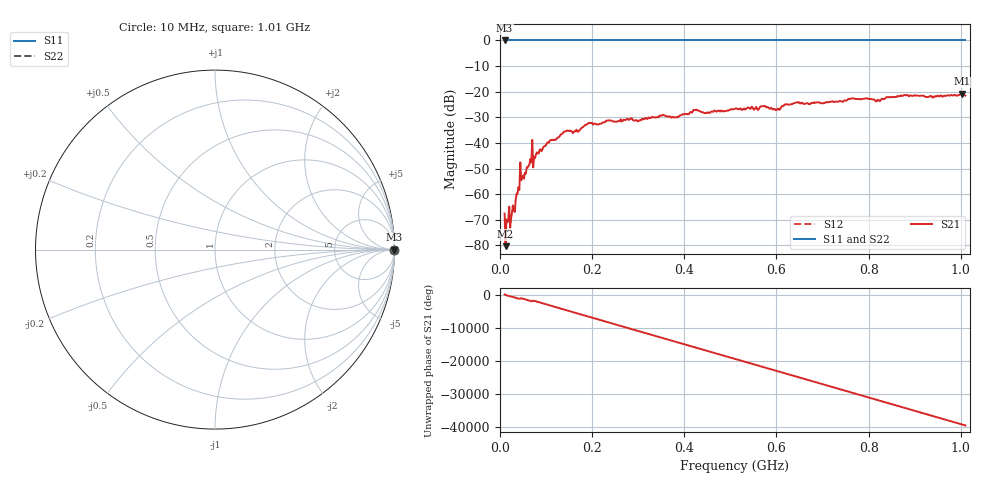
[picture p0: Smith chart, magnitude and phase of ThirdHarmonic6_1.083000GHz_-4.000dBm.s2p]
! 8/16/2025 9:58:07 AM
! C:\ANRITSUVNA\TEMP\TEMP.S2P
! CHANNEL.1
! TR.MEASUREMENT
! RAW.DATA
! RF.CORRECTION.OFF
! AVERAGING.OFF
! IF.BANDWIDTH: 5KHZ
! SWEEPTYPE:  FREQ.SWEEP(Linear)
! Reference Plane Port Info
! PORT:  PORT1  PORT2
! DISTANCE:  0  m  0  m
! TIME:  0  s  0  s
! PHASE.OFFSET:  0  deg.  0  deg.
! LOSS:  0  dB  0  dB
! REF.LOSS:  0  dB  0  dB
! REF.FREQ:  0  Hz  0  Hz
! Power Info
! POWER:  -20  dBm  -20  dBm
! EFF.POWER:  -20  dBm  -20  dBm
! SOURCE.ATTEN:  0  dB  0  dB
! TEST.ATTEN:  0  dB  0  dB
# GHZ S RI R 50.0
! FREQ.GHZ  S11RE  S11IM  S21RE  S21IM  S12RE  S12IM  S22RE  S22IM
!; PortSelection: Port_12
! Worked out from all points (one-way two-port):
!   501 points, 10 MHz to 1.01 GHz, reference 50 ohm
!   highest |S21| = -20.83 dB at 1.002 GHz (marker M1); lowest = -80.3 dB at 12 MHz (marker M2)
!   lowest |S11| = 0.0 dB at 10 MHz (marker M3)
!   |S11| at or under -10 dB: nowhere
!   |S22| runs from 0.0 to 0.0 dB; largest |S21 - S12| = 1.1
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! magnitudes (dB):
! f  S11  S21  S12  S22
! 10 MHz  0.0  -67.6  0.0  0.0
! 12 MHz  0.0  -80.3  0.0  0.0
! 26 MHz  0.0  -67.3  0.0  0.0
! 44 MHz  0.0  -47.6  0.0  0.0
! 56 MHz  0.0  -51.9  0.0  0.0
! 66 MHz  0.0  -46.3  0.0  0.0
! 76 MHz  0.0  -46.0  0.0  0.0
! 106 MHz  0.0  -39.9  0.0  0.0
! 142 MHz  0.0  -35.6  0.0  0.0
! 178 MHz  0.0  -34.0  0.0  0.0
! 196 MHz  0.0  -32.2  0.0  0.0
! 344 MHz  0.0  -30.0  0.0  0.0
! 382 MHz  0.0  -30.1  0.0  0.0
! 424 MHz  0.0  -27.2  0.0  0.0
! 510 MHz  0.0  -26.6  0.0  0.0
! 570 MHz  0.0  -25.7  0.0  0.0
! 602 MHz  0.0  -26.6  0.0  0.0
! 644 MHz  0.0  -24.2  0.0  0.0
! 678 MHz  0.0  -24.4  0.0  0.0
! 844 MHz  0.0  -22.2  0.0  0.0
! 1.002 GHz  0.0  -20.8  0.0  0.0
! 1.01 GHz  0.0  -21.5  0.0  0.0
